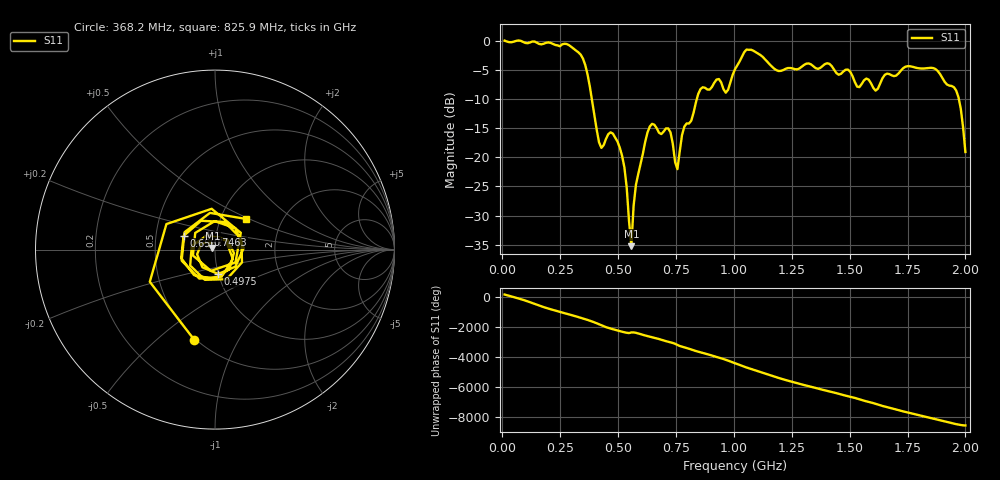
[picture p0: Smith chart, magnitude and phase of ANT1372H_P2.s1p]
!Created with skrf (http://scikit-rf.org).
# Hz S RI R 50.0
!freq ReS11 ImS11
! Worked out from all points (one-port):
!   201 points, 10 MHz to 2 GHz, reference 50 ohm
!   lowest |S11| = -35.3 dB at 557.2 MHz (marker M1), VSWR 1.04, Z = 48.5 + j0.888 ohm
!   |S11| at or under -10 dB: 386.9 MHz to 839.9 MHz (453 MHz wide, 73.8 % of centre); 1.972 GHz to end of sweep
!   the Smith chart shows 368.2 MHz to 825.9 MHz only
!   S11 on the Smith chart (normalised r, x): 368.2 MHz: 0.49, -0.67; 497.6 MHz: 1.00, -0.28; 656.8 MHz: 0.70, +0.11; 746.3 MHz: 0.91, +0.15; 825.9 MHz: 1.31, +0.48
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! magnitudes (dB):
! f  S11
! 10 MHz  0.1
! 258.8 MHz  -0.6
! 368.2 MHz  -5.7
! 427.9 MHz  -18.4
! 497.6 MHz  -17.3
! 507.5 MHz  -18.3
! 527.4 MHz  -21.7
! 557.2 MHz  -35.3
! 577.1 MHz  -24.7
! 626.9 MHz  -15.7
! 656.8 MHz  -14.4
! 726.4 MHz  -15.7
! 746.3 MHz  -20.8
! 756.2 MHz  -22.0
! 786.1 MHz  -14.7
! 825.9 MHz  -12.3
! 855.8 MHz  -8.3
! 935.4 MHz  -6.5
! 965.2 MHz  -8.9
! 1.005 GHz  -4.8
! 1.055 GHz  -1.5
! 1.254 GHz  -4.7
! 1.502 GHz  -5.3
! 1.612 GHz  -8.5
! 1.751 GHz  -4.3
! 1.96 GHz  -8.5
! 1.98 GHz  -11.6
! 2 GHz  -19.1
